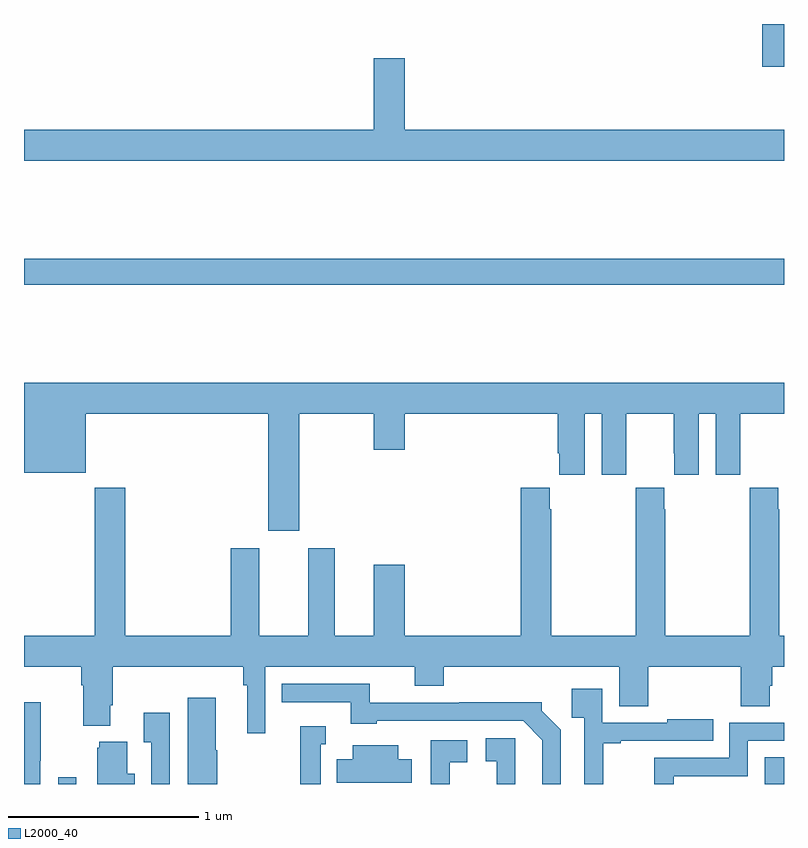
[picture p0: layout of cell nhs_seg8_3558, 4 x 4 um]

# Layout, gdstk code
import gdstk
lib = gdstk.Library(unit=1e-6, precision=1e-09)
def R(c, l, rs):  # rectangles x0, y0, x1, y1
    for r in rs: c.add(gdstk.rectangle(r[:2], r[2:], *l))
def P(c, l, *ps):  # polygons
    for p in ps: c.add(gdstk.Polygon(p, *l))
L2000_40 = (2000, 40)

nhs_seg8_3558 = lib.new_cell('nhs_seg8_3558')
R(nhs_seg8_3558, L2000_40, [(331.179,1099.9,331.275,1099.936), (334.898,1099.9,335,1100.042), (331,1102.528,335,1102.664), (334.885,1103.676,335,1103.9)])
P(nhs_seg8_3558, L2000_40, [(335,1103.344),(333.004,1103.344),(333.004,1103.719),(332.84,1103.719),(332.84,1103.344),(331,1103.344),(331,1103.18),(335,1103.18)],
  [(332.449,1101.848),(332.84,1101.848),(332.84,1101.66),(333.004,1101.66),(333.004,1101.848),(333.809,1101.848),(333.809,1101.64),(333.818,1101.64),(333.818,1101.528),(333.952,1101.528),(333.952,1101.848),(334.04,1101.848),(334.04,1101.528),(334.17,1101.528),(334.17,1101.64),(334.171,1101.64),(334.171,1101.848),(334.421,1101.848),(334.421,1101.64),(334.422,1101.64),(334.422,1101.528),(334.552,1101.528),(334.552,1101.848),(334.64,1101.848),(334.64,1101.528),(334.77,1101.528),(334.77,1101.64),(334.771,1101.64),(334.771,1101.848),(335,1101.848),(335,1102.012),(331,1102.012),(331,1101.539),(331.324,1101.539),(331.324,1101.848),(332.285,1101.848),(332.285,1101.234),(332.449,1101.234)],
  [(332.271,1100.516),(333.056,1100.516),(333.056,1100.417),(333.209,1100.417),(333.209,1100.516),(334.133,1100.516),(334.133,1100.308),(334.286,1100.308),(334.286,1100.516),(334.772,1100.516),(334.772,1100.308),(334.924,1100.308),(334.924,1100.418),(334.937,1100.418),(334.937,1100.516),(335,1100.516),(335,1100.68),(334.974,1100.68),(334.974,1101.347),(334.971,1101.347),(334.971,1101.46),(334.821,1101.46),(334.821,1101.347),(334.819,1101.347),(334.819,1100.68),(334.374,1100.68),(334.374,1101.347),(334.371,1101.347),(334.371,1101.46),(334.221,1101.46),(334.221,1101.347),(334.219,1101.347),(334.219,1100.68),(333.774,1100.68),(333.774,1101.347),(333.767,1101.347),(333.767,1101.46),(333.614,1101.46),(333.614,1100.68),(333.004,1100.68),(333.004,1101.055),(332.84,1101.055),(332.84,1100.68),(332.635,1100.68),(332.635,1101.142),(332.495,1101.142),(332.495,1100.68),(332.239,1100.68),(332.239,1101.142),(332.087,1101.142),(332.087,1100.68),(331.532,1100.68),(331.532,1101.46),(331.372,1101.46),(331.372,1100.68),(331,1100.68),(331,1100.516),(331.301,1100.516),(331.301,1100.42),(331.313,1100.42),(331.313,1100.207),(331.453,1100.207),(331.453,1100.314),(331.466,1100.314),(331.466,1100.516),(332.155,1100.516),(332.155,1100.42),(332.174,1100.42),(332.174,1100.166),(332.271,1100.166)],
  [(333.825,1100.186),(333.726,1100.285),(333.726,1100.33),(333.292,1100.33),(333.292,1100.328),(332.82,1100.328),(332.82,1100.427),(332.356,1100.427),(332.356,1100.331),(332.72,1100.331),(332.72,1100.216),(332.856,1100.216),(332.856,1100.232),(333.627,1100.232),(333.728,1100.131),(333.728,1099.9),(333.825,1099.9)],
  [(334.049,1100.115),(334.141,1100.115),(334.141,1100.127),(334.628,1100.127),(334.628,1100.242),(334.385,1100.242),(334.385,1100.223),(334.044,1100.223),(334.044,1100.401),(333.883,1100.401),(333.883,1100.249),(333.948,1100.249),(333.948,1099.9),(334.049,1099.9)],
  [(332.016,1100.078),(332.008,1100.078),(332.008,1100.353),(331.862,1100.353),(331.862,1099.9),(332.016,1099.9)],
  [(331.086,1100.023),(331.089,1100.023),(331.089,1100.33),(331,1100.33),(331,1099.9),(331.086,1099.9)],
  [(331.767,1100.275),(331.631,1100.275),(331.631,1100.119),(331.671,1100.119),(331.671,1099.9),(331.767,1099.9)],
  [(334.419,1099.941),(334.809,1099.941),(334.809,1100.127),(335,1100.127),(335,1100.223),(334.713,1100.223),(334.713,1100.037),(334.318,1100.037),(334.318,1099.9),(334.419,1099.9)],
  [(332.562,1100.109),(332.587,1100.109),(332.587,1100.203),(332.454,1100.203),(332.454,1099.9),(332.562,1099.9)],
  [(333.586,1100.14),(333.429,1100.14),(333.429,1100.019),(333.487,1100.019),(333.487,1099.9),(333.586,1099.9)],
  [(333.24,1100.014),(333.334,1100.014),(333.334,1100.13),(333.141,1100.13),(333.141,1099.9),(333.24,1099.9)],
  [(331.582,1099.954),(331.543,1099.954),(331.543,1100.122),(331.397,1100.122),(331.397,1100.091),(331.385,1100.091),(331.385,1099.9),(331.582,1099.9)],
  [(333.04,1100.029),(332.971,1100.029),(332.971,1100.104),(332.729,1100.104),(332.729,1100.029),(332.647,1100.029),(332.647,1099.907),(333.04,1099.907)])

lib.write_gds('nhs_seg8_3558.gds')
